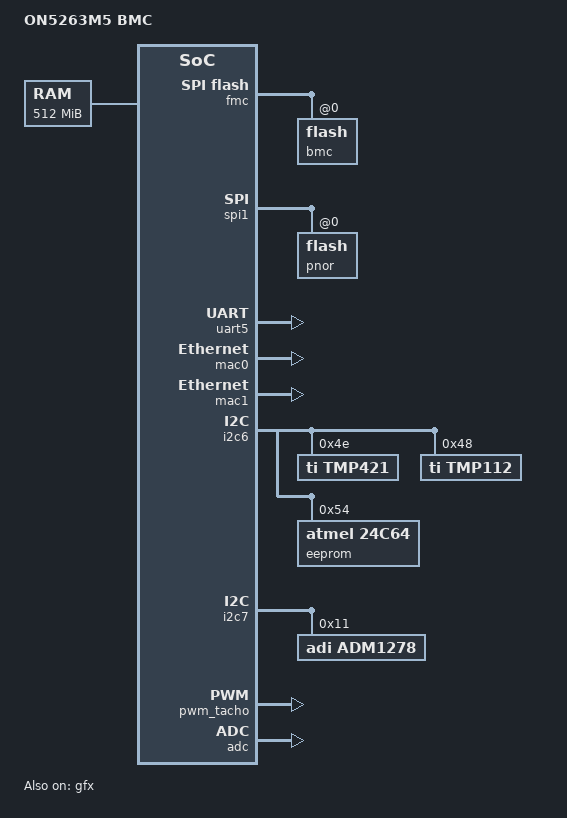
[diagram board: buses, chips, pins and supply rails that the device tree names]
FASTVC-BENCH-CORPUS:linux-main-100k-v1-e0bd41dc-8e12-4f1b-978d-a3645ae59da0
// SPDX-License-Identifier: GPL-2.0
// Copyright (c) 2018 Inspur Corporation
/* bench 22365.2.0 79d4425bac6f */
/* bench 22365.2.1 8a6a6389d065 */
/* bench 22365.2.2 ffe2c1f8f581 */
/* bench 22365.2.3 628ad42d7170 */
/* bench 22365.2.4 d23ecfbfc867 */
/* bench 22365.2.5 dc79e922429f */
/* bench 22365.2.6 77f9e434eca4 */
/* bench 22365.2.7 08626ac7ed0c */
#include <dt-bindings/gpio/aspeed-gpio.h>

/ {
	model = "ON5263M5 BMC";
	compatible = "inspur,on5263m5-bmc", "aspeed,ast2500";

	chosen {
		stdout-path = &uart5;
		bootargs = "earlyprintk";
	};

	memory {
		reg = <0x80000000 0x20000000>;
	};
/* bench 8779.0.0 4a7dd6aa77c0 */
/* bench 8779.0.1 70e23466b0d9 */
/* bench 8779.0.2 bd27810a72f0 */
/* bench 8779.0.3 20b765002ac3 */
/* bench 8779.0.4 b64de7012a3b */
/* bench 8779.0.5 a76cee2b003c */
/* bench 8779.0.6 edec6e5860ee */
/* bench 8779.0.7 ee408050d142 */
/* bench 8779.0.8 2aefe79f6cea */
		#size-cells = <1>;
		ranges;

		vga_memory: framebuffer@9f000000 {
			no-map;
			reg = <0x9f000000 0x01000000>;
		};
	};

	leds {
	    compatible = "gpio-leds";
	    bmc_alive {
		label = "bmc_alive";
		gpios = <&gpio ASPEED_GPIO(I, 1) GPIO_ACTIVE_LOW>;
		linux,default-trigger = "timer";
	    };
	};

	iio-hwmon {
		compatible = "iio-hwmon";
		io-channels = <&adc 0>, <&adc 1>, <&adc 2>, <&adc 3>,
			<&adc 4>, <&adc 5>, <&adc 6>, <&adc 7>;
	};

};

&fmc {
	status = "okay";
	flash@0 {
		status = "okay";
		m25p,fast-read;
		label = "bmc";
#include "openbmc-flash-layout.dtsi"
	};
};

&spi1 {
	status = "okay";
	pinctrl-names = "default";
	pinctrl-0 = <&pinctrl_spi1_default>;

	flash@0 {
		status = "okay";
		m25p,fast-read;
		label = "pnor";
	};
};

&uart5 {
	status = "okay";
};

&mac0 {
	status = "okay";

	pinctrl-names = "default";
	pinctrl-0 = <&pinctrl_rmii1_default>;
	clocks = <&syscon ASPEED_CLK_GATE_MAC1CLK>,
		 <&syscon ASPEED_CLK_MAC1RCLK>;
	clock-names = "MACCLK", "RCLK";
	use-ncsi;
};

&mac1 {
	status = "okay";

	pinctrl-names = "default";
	pinctrl-0 = <&pinctrl_rgmii2_default &pinctrl_mdio2_default>;
};

&i2c6 {
	status = "okay";

	tmp421@4e {
		compatible = "ti,tmp421";
		reg = <0x4e>;
	};

	tmp112@48 {
		compatible = "ti,tmp112";
		reg = <0x48>;
	};

	eeprom@54 {
		compatible = "atmel,24c64";
		reg = <0x54>;
		pagesize = <32>;
	};
};

&i2c7 {
	status = "okay";

	adm1278@11 {
		  compatible = "adi,adm1278";
		  reg = <0x11>;
	};
};

&gfx {
	status = "okay";
};

&pinctrl {
	aspeed,external-nodes = <&gfx &lhc>;
};

&pwm_tacho {
	status = "okay";
	pinctrl-names = "default";
	pinctrl-0 = <&pinctrl_pwm0_default &pinctrl_pwm1_default>;

	fan@0 {
		reg = <0x00>;
		aspeed,fan-tach-ch = /bits/ 8 <0x00 0x01>;
	};

	fan@1 {
		reg = <0x01>;
		aspeed,fan-tach-ch = /bits/ 8 <0x02 0x03>;
	};
};

&adc {
	status = "okay";
};
